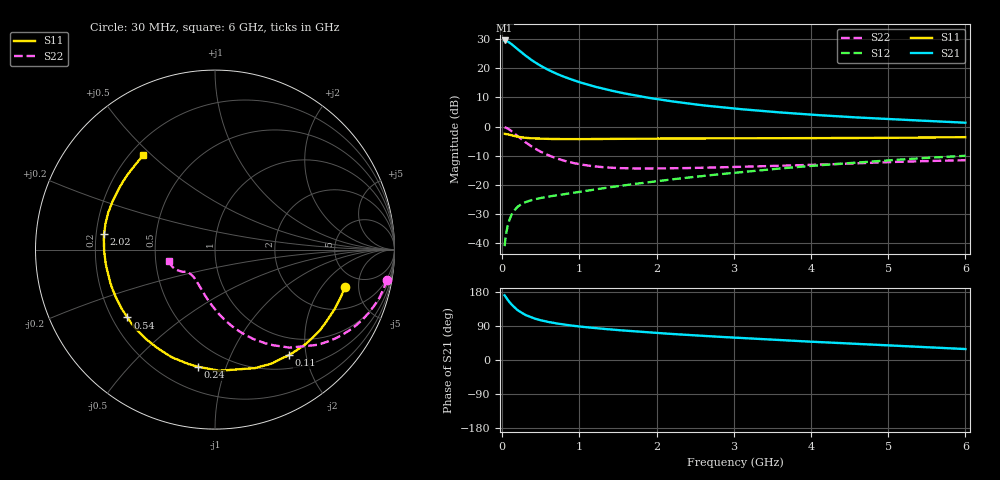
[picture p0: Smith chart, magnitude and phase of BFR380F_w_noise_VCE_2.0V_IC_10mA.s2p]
! Infineon Technologies  Discrete & RF Semiconductors
! BFR380F
! VCE =  2.0 V,  IC =  10 mA
! Common Emitter S-Parameters:  Nov 2015
# GHz  S  MA  R  50
!  f  S11  S21  S12  S22
! GHz  MAG  ANG  MAG  ANG  MAG  ANG  MAG  ANG
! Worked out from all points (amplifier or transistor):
!   206 points, 30 MHz to 6 GHz, reference 50 ohm
!   highest |S21| = 29.5 dB at 30 MHz (marker M1)
!   |S21| within 3 dB of that: start of sweep to 199.5 MHz
!   unconditionally stable (mu >= 1): 1.753 GHz to 5.268 GHz
!   at 200 MHz: K = 0.23, MSG = 26.9 dB, |S12| = -27.4 dB
!   at 1.56 GHz: K = 0.97, MSG = 15.8 dB, |S12| = -20.2 dB
!   at 6 GHz: K = 0.98, MSG = 5.7 dB, |S12| = -10.0 dB
!   lowest NFmin = 0.86 dB at 900 MHz
!   S11 on the Smith chart (normalised r, x): 30 MHz: 3.61, -3.49; 110 MHz: 0.70, -1.69; 240 MHz: 0.35, -0.80; 540 MHz: 0.26, -0.32; 2.02 GHz: 0.23, +0.07; 6 GHz: 0.25, +0.47
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0.03  0.7536 -16.1  29.78 170.7  0.009 82.1  0.9729 -9.9
0.05  0.7438 -26.9  29.43 164.2  0.0147 78.3  0.9545 -16.3
0.07  0.7379 -37.2  28.55 158.7  0.0201 73.1  0.9259 -22.4
0.09  0.7292 -46.3  27.49 153.6  0.0247 69.2  0.8931 -28.1
0.11  0.7177 -55.2  26.34 148.8  0.029 65.4  0.8557 -33.5
0.15  0.6966 -71.4  23.98 140.1  0.0361 59.3  0.7793 -42.9
0.2  0.6754 -88.0  21.05 131.2  0.0427 53.3  0.6869 -52.7
0.24  0.6595 -98.3  19.03 126.0  0.0464 50.0  0.6224 -58.8
0.3  0.6462 -111.9  16.43 118.8  0.051 46.5  0.54 -67.0
0.36  0.6336 -121.9  14.35 113.7  0.0543 44.5  0.4756 -73.4
0.45  0.6242 -133.8  11.96 107.4  0.0582 43.0  0.402 -81.4
0.54  0.6171 -142.2  10.26 103.1  0.0615 42.8  0.3503 -87.6
0.6  0.6155 -147.1  9.285 100.2  0.0635 42.9  0.3218 -91.7
0.72  0.6126 -154.5  7.868 96.0  0.0674 43.9  0.2812 -98.3
0.9  0.6116 -162.8  6.362 90.8  0.0734 45.9  0.2415 -106.8
1.04  0.6114 -167.8  5.548 87.6  0.0783 47.6  0.2226 -112.3
1.4  0.6162 -177.3  4.159 80.6  0.0917 51.7  0.1982 -124.0
2.02  0.624 171.9  2.931 71.2  0.1173 56.3  0.1925 -135.0
3.1  0.6294 159.1  1.984 58.1  0.1669 59.5  0.2054 -143.2
4.1  0.6336 148.0  1.57 47.4  0.2176 58.9  0.2232 -146.7
5.1  0.6431 137.7  1.327 37.7  0.2697 56.6  0.249 -154.7
6  0.6605 127.1  1.165 28.9  0.3168 52.6  0.2661 -166.6
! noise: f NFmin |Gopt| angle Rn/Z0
0.45  0.87  0.09  98  0.09
0.9  0.86  0.18  132  0.08
1.8  1.14  0.33  166  0.08
1.9  1.23  0.34  167  0.07
2.4  1.37  0.37  -178  0.08
3.5  2  0.48  -160  0.11
